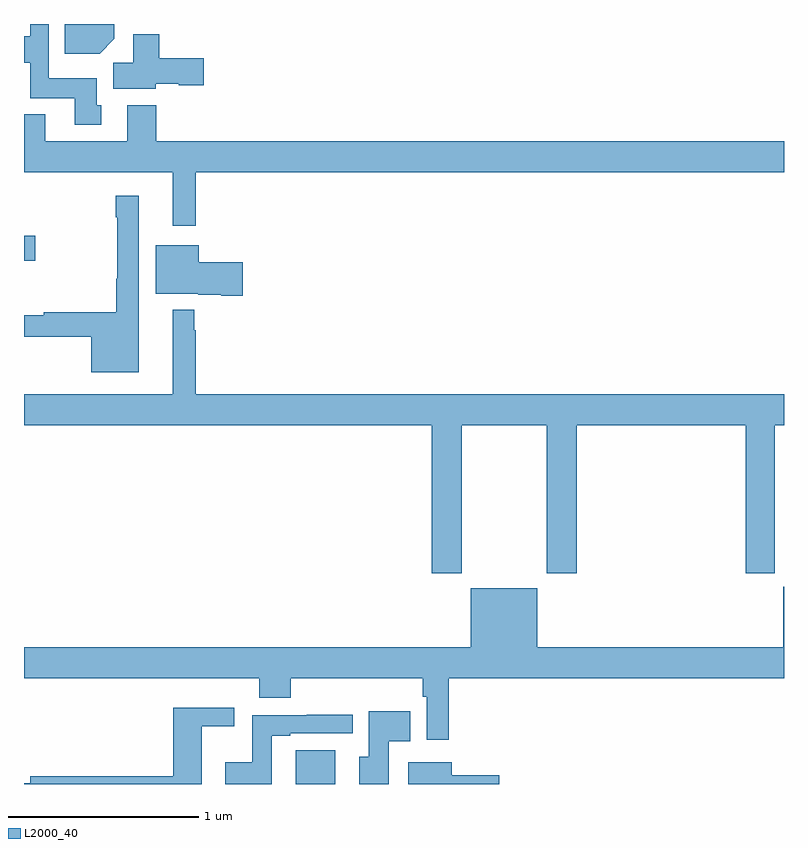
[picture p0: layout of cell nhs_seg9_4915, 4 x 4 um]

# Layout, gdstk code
import gdstk
lib = gdstk.Library(unit=1e-6, precision=1e-09)
def R(c, l, rs):  # rectangles x0, y0, x1, y1
    for r in rs: c.add(gdstk.rectangle(r[:2], r[2:], *l))
def P(c, l, *ps):  # polygons
    for p in ps: c.add(gdstk.Polygon(p, *l))
L2000_40 = (2000, 40)

nhs_seg9_4915 = lib.new_cell('nhs_seg9_4915')
R(nhs_seg9_4915, L2000_40, [(396.431,1226.5,396.637,1226.677), (395,1229.255,395.059,1229.385)])
P(nhs_seg9_4915, L2000_40, [(395.407,1230.072),(395.383,1230.072),(395.383,1230.214),(395.13,1230.214),(395.13,1230.5),(395.034,1230.5),(395.034,1230.436),(395,1230.436),(395,1230.296),(395.032,1230.296),(395.032,1230.11),(395.267,1230.11),(395.267,1229.97),(395.407,1229.97)],
  [(395.476,1230.422),(395.476,1230.5),(395.215,1230.5),(395.215,1230.344),(395.398,1230.344)],
  [(395.694,1230.185),(395.814,1230.185),(395.814,1230.178),(395.947,1230.178),(395.947,1230.32),(395.711,1230.32),(395.711,1230.445),(395.576,1230.445),(395.576,1230.296),(395.471,1230.296),(395.471,1230.158),(395.694,1230.158)],
  [(395.905,1229.72),(399,1229.72),(399,1229.884),(395.696,1229.884),(395.696,1230.073),(395.543,1230.073),(395.543,1229.884),(395.113,1229.884),(395.113,1230.025),(395,1230.025),(395,1229.72),(395.783,1229.72),(395.783,1229.439),(395.905,1229.439)],
  [(395.605,1229.596),(395.484,1229.596),(395.484,1229.483),(395.491,1229.483),(395.491,1229.159),(395.486,1229.159),(395.486,1228.982),(395.105,1228.982),(395.105,1228.967),(395,1228.967),(395,1228.854),(395.354,1228.854),(395.354,1228.667),(395.605,1228.667)],
  [(396.151,1229.247),(395.92,1229.247),(395.92,1229.335),(395.693,1229.335),(395.693,1229.081),(395.916,1229.081),(395.916,1229.075),(396.038,1229.075),(396.038,1229.069),(396.151,1229.069)],
  [(397.305,1228.388),(397.75,1228.388),(397.75,1227.609),(397.91,1227.609),(397.91,1228.388),(398.798,1228.388),(398.798,1227.609),(398.95,1227.609),(398.95,1228.388),(399,1228.388),(399,1228.552),(395.905,1228.552),(395.905,1228.889),(395.897,1228.889),(395.897,1228.996),(395.783,1228.996),(395.783,1228.552),(395,1228.552),(395,1228.388),(397.145,1228.388),(397.145,1227.609),(397.305,1227.609)],
  [(397.235,1227.056),(399,1227.056),(399,1227.537),(398.996,1227.537),(398.996,1227.22),(397.702,1227.22),(397.702,1227.529),(397.352,1227.529),(397.352,1227.22),(395,1227.22),(395,1227.056),(396.239,1227.056),(396.239,1226.954),(396.404,1226.954),(396.404,1227.056),(397.099,1227.056),(397.099,1226.96),(397.119,1226.96),(397.119,1226.733),(397.235,1226.733)],
  [(395.935,1226.804),(396.106,1226.804),(396.106,1226.902),(395.786,1226.902),(395.786,1226.54),(395.033,1226.54),(395.033,1226.504),(395,1226.504),(395,1226.5),(395.935,1226.5)],
  [(396.919,1226.726),(397.034,1226.726),(397.034,1226.884),(396.815,1226.884),(396.815,1226.643),(396.765,1226.643),(396.765,1226.5),(396.919,1226.5)],
  [(396.303,1226.754),(396.4,1226.754),(396.4,1226.766),(396.73,1226.766),(396.73,1226.864),(396.487,1226.864),(396.487,1226.862),(396.202,1226.862),(396.202,1226.614),(396.06,1226.614),(396.06,1226.5),(396.303,1226.5)],
  [(397.501,1226.546),(397.252,1226.546),(397.252,1226.614),(397.022,1226.614),(397.022,1226.5),(397.501,1226.5)])

lib.write_gds('nhs_seg9_4915.gds')
